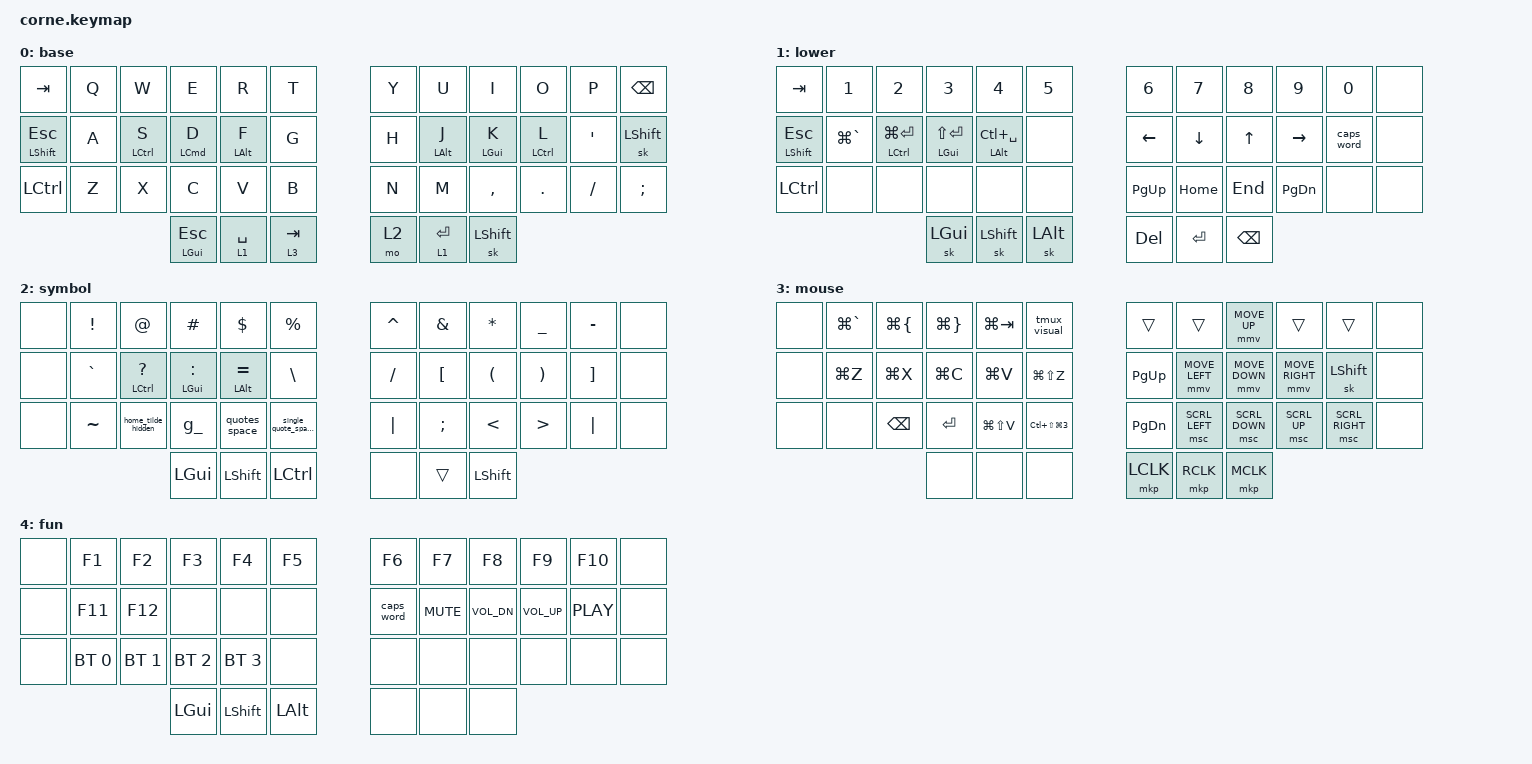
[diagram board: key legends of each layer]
/*
 * Copyright (c) 2020 The ZMK Contributors
 *
 * SPDX-License-Identifier: MIT
 */

#include <behaviors/mouse_keys.dtsi>
#include <dt-bindings/zmk/mouse.h>
#include <behaviors.dtsi>
#include <dt-bindings/zmk/bt.h>
#include <dt-bindings/zmk/keys.h>


&mt {
    flavor = "balanced";
    quick-tap-ms = <0>;
    tapping-term-ms = <280>;
};

&mmv {
    time-to-max-speed-ms = <680>;
    acceleration-exponent = <2>;
};

&msc {
    time-to-max-speed-ms = <500>;                 /* <--- How long time until max speed is reached */
};

&lt {
    quick-tap-ms = <0>;
    flavor = "balanced";
    tapping-term-ms = <280>;
};
&sk {
    release-after-ms = <300>;
    quick-release;
};

/ {
    combos {
        compatible = "zmk,combos";

        fun_trigger {
            bindings = <&tog 3>;
            key-positions = <40 41 39>;
            timeout-ms = <50>;
            layers = <1 2 0 3>;
        };

        swapper {
            bindings = <&swapper>;
            key-positions = <16 38>;
            layers = <0>;
        };
    };

    macros {
        tilde_macro: new_macro {
            compatible = "zmk,behavior-macro";
            #binding-cells = <0>;
            bindings = <&none>, <&macro_tap>, <&kp TILDE &kp SPACE>;

            label = "NEW_MACRO";
        };

        home_tilde: home_tilde {
            compatible = "zmk,behavior-macro";
            #binding-cells = <0>;
            bindings = <&none>, <&macro_tap>, <&kp TILDE &kp SPACE &kp SLASH>;

            label = "HOME_TILDE";
        };

        g_: g_ {
            compatible = "zmk,behavior-macro";
            #binding-cells = <0>;
            bindings = <&none>, <&macro_tap>, <&kp G &kp UNDERSCORE>;

            label = "G_";
        };

        home_tilde_hidden: home_tilde_hidden {
            compatible = "zmk,behavior-macro";
            #binding-cells = <0>;
            bindings =
                <&none>,
                <&macro_tap>,
                <&kp TILDE &kp SPACE &kp SLASH &kp PERIOD>;

            label = "HOME_TILDE_HIDDEN";
        };

        tmux_visual: tmux_visual {
            compatible = "zmk,behavior-macro";
            #binding-cells = <0>;
            bindings = <&none>, <&macro_tap>, <&kp LC(SPACE) &kp LEFT_BRACKET>;

            label = "TMUX_VISUAL";
        };

        quotes_space: quotes_space {
            compatible = "zmk,behavior-macro";
            #binding-cells = <0>;
            bindings = <&none>, <&macro_tap>, <&kp DOUBLE_QUOTES &kp SPACE>;

            label = "QUOTES_SPACE";
        };

        single_quote_space: single_quote_space {
            compatible = "zmk,behavior-macro";
            #binding-cells = <0>;
            bindings = <&none>, <&macro_tap>, <&kp SQT &kp SPACE>;

            label = "SINGLE_QUOTE_SPACE";
        };

        // Swapper for smart alt+tab

        swapper: swapper {
            compatible = "zmk,behavior-tri-state";
            label = "SWAPPER";
            #binding-cells = <0>;
            bindings = <&kt LGUI>, <&kp TAB>, <&kt LGUI>;

            ignored-key-positions = <21>;
        };

        // Swapper for smart alt+tab
    };

    behaviors {
        skmt: skmt {
            compatible = "zmk,behavior-hold-tap";
            #binding-cells = <2>;
            tapping-term-ms = <150>;    // <---[[moderate duration]]
            quick-tap-ms = <0>;
            flavor = "balanced";
            bindings = <&kp>, <&sk>;
        };
    };

    keymap {
        compatible = "zmk,keymap";

        default_layer {
            display-name = "base";

            // -----------------------------------------------------------------------------------------
            // |  TAB |  Q  |  W  |  E  |  R  |  T  |   |  Y  |  U   |  I  |  O  |  P  | BSPC |
            // | CTRL |  A  |  S  |  D  |  F  |  G  |   |  H  |  J   |  K  |  L  |  ;  |  '   |
            // | SHFT |  Z  |  X  |  C  |  V  |  B  |   |  N  |  M   |  ,  |  .  |  /  | ESC  |
            //                    | GUI | LWR | SPC |   | ENT | RSE  | ALT |

            bindings = <
&kp TAB            &kp Q  &kp W        &kp E            &kp R        &kp T        &kp Y  &kp U        &kp I                     &kp O        &kp P             &kp BACKSPACE
&mt LSHIFT ESCAPE  &kp A  &mt LCTRL S  &mt LCMD D       &mt LALT F   &kp G        &kp H  &mt LALT J   &mt LGUI K                &mt LCTRL L  &kp SINGLE_QUOTE  &sk LEFT_SHIFT
&kp LCTRL          &kp Z  &kp X        &kp C            &kp V        &kp B        &kp N  &kp M        &kp COMMA                 &kp DOT      &kp SLASH         &kp SEMICOLON
                                       &mt LGUI ESCAPE  &lt 1 SPACE  &lt 3 TAB    &mo 2  &lt 1 ENTER  &sk LSHIFT

            >;
        };

        lower {
            display-name = "lower";

            // -----------------------------------------------------------------------------------------
            // |  TAB |  1  |  2  |  3  |  4  |  5  |   |  6  |  7  |  8  |  9  |  0  | BSPC |
            // | BTCLR| BT1 | BT2 | BT3 | BT4 | BT5 |   | LFT | DWN |  UP | RGT |     |      |
            // | SHFT |     |     |     |     |     |   |     |     |     |     |     |      |
            //                    | GUI |     | SPC |   | ENT |     | ALT |

            bindings = <
&kp TAB                &kp N1         &kp N2               &kp N3              &kp NUMBER_4        &kp N5      &kp NUMBER_6    &kp N7          &kp N8         &kp N9           &kp N0      &none
&mt LEFT_SHIFT ESCAPE  &kp LG(GRAVE)  &mt LCTRL LG(ENTER)  &mt LGUI LS(ENTER)  &mt LALT LC(SPACE)  &none       &kp LEFT_ARROW  &kp DOWN_ARROW  &kp UP_ARROW   &kp RIGHT_ARROW  &caps_word  &none
&kp LCTRL              &none          &none                &none               &none               &none       &kp PAGE_UP     &kp HOME        &kp END        &kp PAGE_DOWN           &none       &none
                                                           &sk LGUI            &sk LSHIFT          &sk LALT    &kp DELETE      &kp RET         &kp BACKSPACE
            >;

            label = "lower";
        };

        sym {
            display-name = "symbol";

            // -----------------------------------------------------------------------------------------
            // |  TAB |  !  |  @  |  #  |  $  |  %  |   |  ^  |  &  |  *  |  (  |  )  | BSPC |
            // | CTRL |     |     |     |     |     |   |  -  |  =  |  [  |  ]  |  \  |  `   |
            // | SHFT |     |     |     |     |     |   |  _  |  +  |  {  |  }  | "|" |  ~   |
            //                    | GUI |     | SPC |   | ENT |     | ALT |

            bindings = <
&none       &kp EXCLAMATION  &kp AT              &kp HASH        &kp DOLLAR      &kp PERCENT            &kp CARET  &kp AMPERSAND      &kp ASTERISK          &kp UNDERSCORE         &kp MINUS         &none 
&none       &kp GRAVE        &mt LCTRL QUESTION  &mt LGUI COLON  &mt LALT EQUAL  &kp BACKSLASH          &kp SLASH  &kp LEFT_BRACKET  &kp LEFT_PARENTHESIS  &kp RIGHT_PARENTHESIS  &kp RIGHT_BRACKET  &none 
&none      &kp TILDE        &home_tilde_hidden  &g_             &quotes_space   &single_quote_space    &kp PIPE   &kp SEMICOLON     &kp LESS_THAN         &kp GREATER_THAN       &kp PIPE            &none 
                                                    &kp LGUI        &kp LSHIFT      &kp LCTRL              &none      &trans            &kp LSHIFT
            >;
        };

        mouse {
            display-name = "mouse";
            bindings = <
&none     &kp LG(GRAVE)  &kp LG(LEFT_BRACE)  &kp LG(RIGHT_BRACE)   &kp LG(TAB)    &tmux_visual                &trans         &trans          &mmv MOVE_UP    &trans           &trans          &none 
&none    &kp LG(Z)          &kp LG(X)       &kp LG(C)             &kp LG(V)    &kp LG(LS(Z))               &kp PAGE_UP    &mmv MOVE_LEFT  &mmv MOVE_DOWN  &mmv MOVE_RIGHT  &sk LSHIFT       &none 
&none   &none          &kp BACKSPACE      &kp RET  &kp LG(LS(V))  &kp LC(LS(LG(NUMBER_3)))    &kp PAGE_DOWN  &msc SCRL_LEFT  &msc SCRL_DOWN  &msc SCRL_UP     &msc SCRL_RIGHT   &none 
                                              &none                 &none          &none                       &mkp LCLK      &mkp RCLK       &mkp MCLK
            >;
        };

        fun {
            display-name = "fun";
            bindings = <
&none       &kp F1        &kp F2        &kp F3        &kp F4          &kp F5      &kp F6      &kp F7      &kp F8        &kp F9           &kp F10     &none 
&none   &kp F11       &kp F12       &none         &none           &none       &caps_word  &kp C_MUTE  &kp C_VOL_DN  &kp C_VOLUME_UP  &kp C_PLAY  &none
&none    &bt BT_SEL 0  &bt BT_SEL 1  &bt BT_SEL 2  &bt BT_SEL 3    &none       &none       &none       &none         &none            &none      &none 
                                        &kp LGUI      &kp LEFT_SHIFT  &kp LALT    &none       &none       &none
            >;
        };
    };
};
